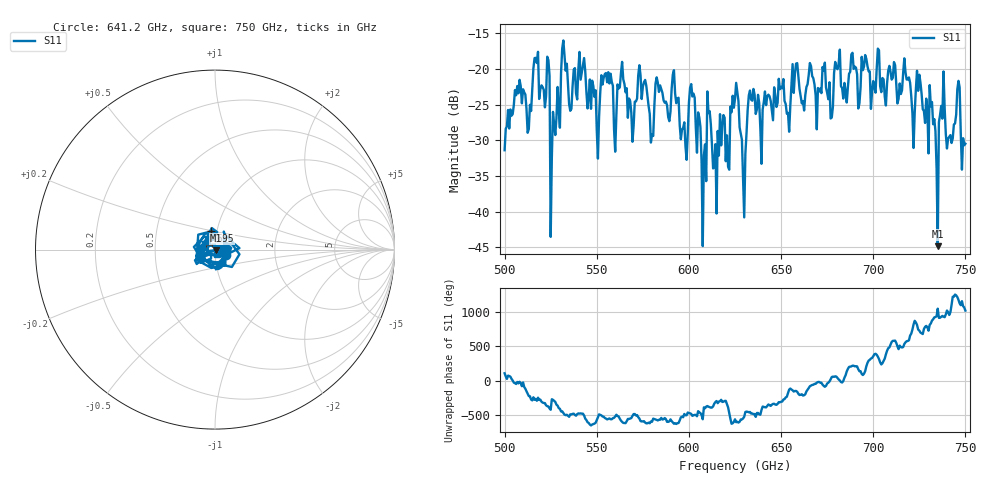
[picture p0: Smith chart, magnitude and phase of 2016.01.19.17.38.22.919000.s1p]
!Created with skrf (http://scikit-rf.org).
# GHz S RI R 50.0
!freq ReS11 ImS11
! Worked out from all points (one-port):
!   401 points, 500 GHz to 750 GHz, reference 50 ohm
!   lowest |S11| = -44.9 dB at 735 GHz (marker M1), VSWR 1.01, Z = 50.5 - j0.335 ohm
!   |S11| at or under -10 dB: start of sweep to end of sweep
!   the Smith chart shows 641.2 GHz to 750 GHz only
!   S11 on the Smith chart (normalised r, x): 641.2 GHz: 1.13, -0.06; 695 GHz: 0.94, +0.19; 750 GHz: 1.03, -0.05
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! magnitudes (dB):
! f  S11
! 500 GHz  -31.4
! 506.9 GHz  -22.4
! 513.1 GHz  -28.4
! 516.9 GHz  -18.4
! 523.1 GHz  -18.3
! 526.2 GHz  -26.0
! 531.2 GHz  -17.1
! 550 GHz  -28.6
! 562.5 GHz  -22.6
! 579.4 GHz  -30.3
! 583.1 GHz  -21.9
! 593.8 GHz  -24.1
! 598.1 GHz  -30.8
! 601.9 GHz  -23.9
! 608.1 GHz  -32.1
! 611.2 GHz  -25.9
! 613.8 GHz  -33.7
! 625 GHz  -24.2
! 629.4 GHz  -35.6
! 633.8 GHz  -24.3
! 641.2 GHz  -23.2
! 656.2 GHz  -19.3
! 687.5 GHz  -20.4
! 695 GHz  -19.7
! 718.8 GHz  -21.5
! 735 GHz  -44.9
! 737.5 GHz  -27.0
! 750 GHz  -30.5
